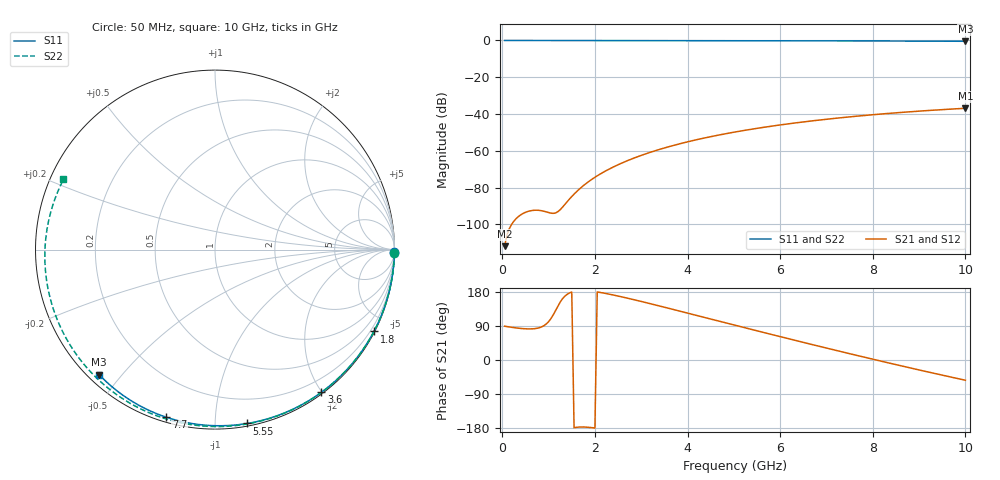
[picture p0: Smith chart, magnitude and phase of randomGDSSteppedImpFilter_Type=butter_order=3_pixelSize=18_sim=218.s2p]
! freq	dB(S11)	phase(S11)	dB(S12)	phase(S12)
!  dB(S21)	phase(S21)	dB(S22)	phase(S22)
!S-par simulation data
#  GHz  S  DB  R 50
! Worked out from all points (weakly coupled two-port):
!   200 points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, 50 MHz to 10 GHz, reference 50 ohm
!   highest |S21| = -36.89 dB at 10 GHz (marker M1); lowest = -111.9 dB at 50 MHz (marker M2)
!   lowest |S11| = -0.4 dB at 10 GHz (marker M3), VSWR 38.76, Z = 1.54 - j21.8 ohm
!   |S11| at or under -10 dB: nowhere
!   |S22| runs from -0.6 to 0.0 dB; largest |S21 - S12| = 0
!   S11 on the Smith chart (normalised r, x): 50 MHz: open; 1.8 GHz: 0.04, -4.12; 3.6 GHz: 0.02, -1.99; 5.55 GHz: 0.02, -1.20; 7.7 GHz: 0.02, -0.75; 10 GHz: 0.03, -0.44
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0.05  -0.00 -0.8  -111.88 89.2  -111.88 89.2  -0.00 -1.2
0.45  -0.01 -6.9  -94.07 82.7  -94.07 82.7  -0.01 -10.7
0.85  -0.02 -13.0  -92.62 87.5  -92.62 87.5  -0.03 -20.0
1.25  -0.02 -19.0  -92.05 152.9  -92.05 152.9  -0.04 -29.3
1.7  -0.03 -25.8  -80.03 -176.8  -80.03 -176.8  -0.05 -39.6
1.75  -0.03 -26.5  -78.98 -176.8  -78.98 -176.8  -0.05 -40.8
1.8  -0.03 -27.3  -77.98 -177.0  -77.98 -177.0  -0.05 -41.9
2.1  -0.04 -31.7  -72.85 178.5  -72.85 178.5  -0.06 -48.6
2.5  -0.05 -37.6  -67.59 168.8  -67.59 168.8  -0.07 -57.4
2.9  -0.06 -43.3  -63.42 157.5  -63.42 157.5  -0.08 -66.1
3.4  -0.07 -50.5  -59.21 142.4  -59.21 142.4  -0.10 -76.6
3.6  -0.07 -53.3  -57.75 136.2  -57.75 136.2  -0.11 -80.7
4.3  -0.09 -62.9  -53.39 114.4  -53.39 114.4  -0.13 -94.8
5.05  -0.11 -73.0  -49.68 91.0  -49.68 91.0  -0.17 -109.4
5.55  -0.13 -79.5  -47.60 75.5  -47.60 75.5  -0.19 -118.9
6.15  -0.15 -87.2  -45.44 57.1  -45.44 57.1  -0.23 -130.1
6.7  -0.18 -94.0  -43.71 40.5  -43.71 40.5  -0.27 -140.3
7.2  -0.21 -100.1  -42.32 25.5  -42.32 25.5  -0.31 -149.5
7.7  -0.24 -106.1  -41.07 10.8  -41.07 10.8  -0.35 -158.8
8.35  -0.29 -113.8  -39.66 -8.0  -39.66 -8.0  -0.42 -171.2
9.2  -0.36 -123.7  -38.10 -31.8  -38.10 -31.8  -0.52 172.1
10  -0.45 -132.8  -36.89 -53.4  -36.89 -53.4  -0.63 155.2
